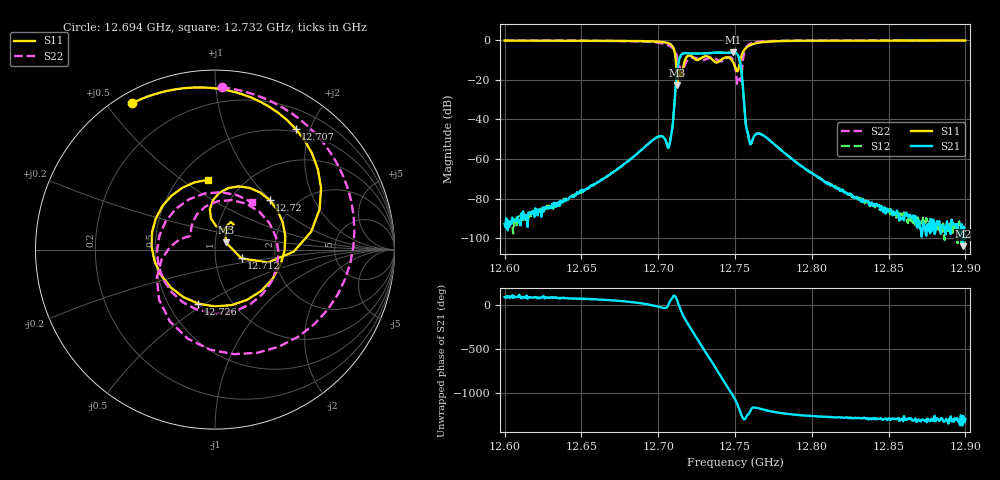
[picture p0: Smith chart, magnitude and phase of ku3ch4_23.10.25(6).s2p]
#  HZ  S  RI  R  50.00
! Rohde & Schwarz ZVA50 2Ports - Version 3.70 - 1145.1110k50 SN: 100192
! Date: 2025-10-23 16:27:27
! Measurements: S11 S21 S12 S22
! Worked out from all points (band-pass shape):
!   601 points, 12.6 GHz to 12.9 GHz, reference 50 ohm
!   highest |S21| = -6.18 dB at 12.749 GHz (marker M1); lowest = -103.9 dB at 12.899 GHz (marker M2)
!   |S21| within 3 dB of the highest: 12.71394 GHz to 12.75268 GHz (38.74 MHz wide, 0.304 % of centre)
!   lowest |S11| = -22.8 dB at 12.713 GHz (marker M3), VSWR 1.16, Z = 56.3 + j4.5 ohm
!   |S11| at or under -10 dB: 12.71145 GHz to 12.71749 GHz (6.044 MHz wide, 0.0475 % of centre); 12.73549 GHz to 12.74087 GHz (5.388 MHz wide, 0.0423 % of centre); 12.74785 GHz to 12.75359 GHz (5.744 MHz wide, 0.045 % of centre)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
!   |S22| runs from -22.3 to -0.2 dB; largest |S21 - S12| = 0.0017
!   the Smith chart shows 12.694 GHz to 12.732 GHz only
!   S11 on the Smith chart (normalised r, x): 12.694 GHz: 0.04, +0.58; 12.707 GHz: 0.46, +1.78; 12.712 GHz: 1.34, -0.13; 12.72 GHz: 1.49, +0.99; 12.726 GHz: 0.70, -0.47; 12.732 GHz: 0.69, +0.63
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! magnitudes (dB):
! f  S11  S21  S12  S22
! 12.6 GHz  -0.2  -92.7  -93.7  -0.2
! 12.65 GHz  -0.3  -76.0  -76.9  -0.3
! 12.694 GHz  -0.6  -52.0  -52.0  -0.9
! 12.7 GHz  -0.8  -48.7  -48.6  -1.3
! 12.707 GHz  -1.8  -52.1  -52.1  -3.0
! 12.712 GHz  -16.2  -17.9  -17.9  -7.6
! 12.713 GHz  -22.8  -14.6  -14.6  -8.9
! 12.716 GHz  -17.6  -7.0  -7.0  -16.0
! 12.72 GHz  -7.7  -6.7  -6.7  -9.4
! 12.726 GHz  -10.0  -6.7  -6.7  -9.3
! 12.732 GHz  -8.2  -6.6  -6.6  -9.5
! 12.749 GHz  -11.5  -6.2  -6.2  -10.6
! 12.75 GHz  -13.4  -6.3  -6.3  -13.4
! 12.753 GHz  -12.1  -10.0  -10.0  -19.4
! 12.758 GHz  -3.7  -44.4  -44.3  -3.5
! 12.759 GHz  -2.7  -51.4  -51.4  -2.0
! 12.768 GHz  -1.0  -47.8  -47.8  -0.7
! 12.8 GHz  -0.3  -67.1  -67.1  -0.2
! 12.828 GHz  -0.2  -79.1  -79.3  -0.2
! 12.85 GHz  -0.2  -85.6  -86.7  -0.2
! 12.899 GHz  -0.2  -103.9  -97.0  -0.2
! 12.9 GHz  -0.2  -100.0  -103.3  -0.2
